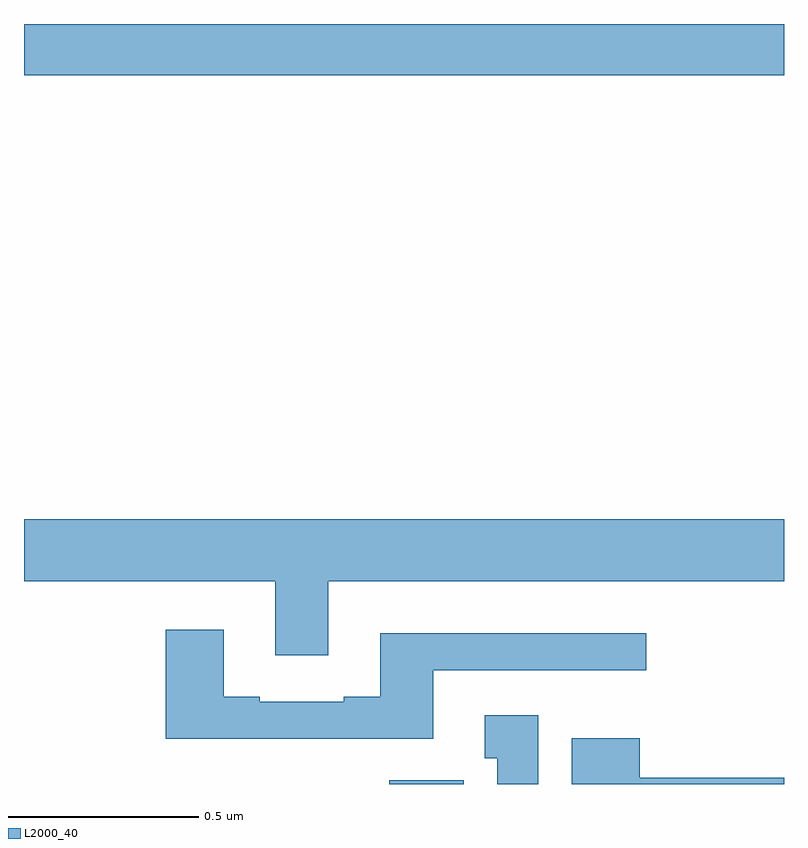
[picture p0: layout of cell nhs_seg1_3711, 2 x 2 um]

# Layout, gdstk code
import gdstk
lib = gdstk.Library(unit=1e-6, precision=1e-09)
def R(c, l, rs):  # rectangles x0, y0, x1, y1
    for r in rs: c.add(gdstk.rectangle(r[:2], r[2:], *l))
def P(c, l, *ps):  # polygons
    for p in ps: c.add(gdstk.Polygon(p, *l))
L2000_40 = (2000, 40)

nhs_seg1_3711 = lib.new_cell('nhs_seg1_3711')
R(nhs_seg1_3711, L2000_40, [(157.961,551.199,158.157,551.209), (157,553.064,159,553.199)])
P(nhs_seg1_3711, L2000_40, [(157.801,551.732),(159,551.732),(159,551.896),(157,551.896),(157,551.732),(157.661,551.732),(157.661,551.538),(157.801,551.538)],
  [(158.077,551.499),(158.638,551.499),(158.638,551.596),(157.937,551.596),(157.937,551.428),(157.841,551.428),(157.841,551.415),(157.621,551.415),(157.621,551.428),(157.525,551.428),(157.525,551.605),(157.373,551.605),(157.373,551.318),(158.077,551.318)],
  [(158.353,551.38),(158.213,551.38),(158.213,551.267),(158.246,551.267),(158.246,551.199),(158.353,551.199)],
  [(159,551.216),(158.62,551.216),(158.62,551.32),(158.441,551.32),(158.441,551.199),(159,551.199)])

lib.write_gds('nhs_seg1_3711.gds')
